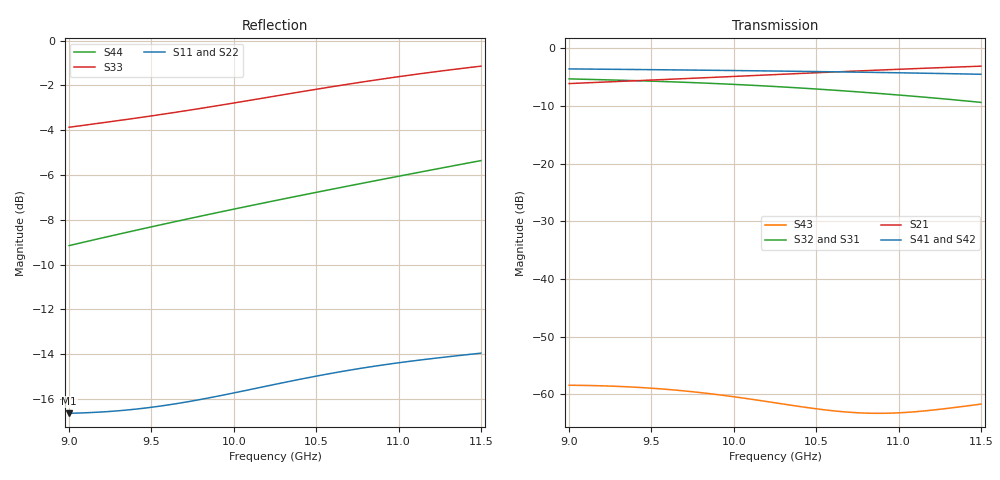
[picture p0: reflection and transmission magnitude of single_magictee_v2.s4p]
! Touchstone file exported from HFSS 2025.2.4
!  File:  C:/Users/chaoy/Documents/single_magictee_v2_stageA/g2_5p80mm_lt_4p50mm/single_magictee_v2.aedt
!  Generated:  03:03:53 PM Sep 19, 2026
!  Design:  SingleMagicT_v2
!  Project:  single_magictee_v2
! Variables:
!  f_adapt = 10.2GHz
!  ridge_g1 = 7.672mm
!  ridge_g2 = 5.8mm
!  ridge_l1 = 9.872mm
!  ridge_l2 = 8.857mm
!  ridge_w = 4.572mm
!  terminal_ridge_len = 4.5mm
!  wg_a = 22.86mm
!  wg_b = 10.16mm
!Data is not renormalized
# GHz S MA
! Terminal data exported
! Port[1] = P1_CollinearMinusX
! Port[2] = P2_CollinearPlusX
! Port[3] = P3_HArm_Ridged
! Port[4] = P4_EArm
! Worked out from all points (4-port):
!   101 points, 9 GHz to 11.5 GHz, reference per port
!   strongest paths, dB at 9 GHz, 9.625 GHz, 10.25 GHz, 10.88 GHz, 11.5 GHz:
!     S41: -3.6, -3.7, -3.9, -4.2, -4.5
!     S42: -3.6, -3.7, -3.9, -4.2, -4.5
!     S21: -6.1, -5.3, -4.6, -3.8, -3.1
!     S32: -5.3, -5.8, -6.6, -7.8, -9.4
!     S31: -5.3, -5.8, -6.6, -7.8, -9.4
!     S43: -58.4, -59.2, -61.4, -63.3, -61.7
!   lowest |S11| = -16.6 dB at 9 GHz (marker M1), VSWR 1.34
!   |S11| at or under -10 dB: start of sweep to end of sweep
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9  0.1471 -159.8  0.4946 -160.4  0.5427 123.7  0.6627 45.0
   0.4946 -160.4  0.145 -159.6  0.5432 123.7  0.6628 -134.9
   0.5427 123.7  0.5432 123.7  0.6406 -132.3  0.001201 158.2
   0.6627 45.0  0.6628 -134.9  0.001201 158.2  0.3485 -109.2
9.525  0.1522 152.4  0.5326 140.8  0.5173 60.3  0.6524 -14.6
       0.5326 140.8  0.1503 152.6  0.5178 60.3  0.6524 165.5
       0.5173 60.3  0.5178 60.3  0.6814 157.2  0.001126 86.1
       0.6524 -14.6  0.6524 165.5  0.001126 86.1  0.3857 -165.4
10.1  0.1662 99.9  0.5788 79.2  0.4783 -8.0  0.6392 -77.0
      0.5788 79.2  0.1652 100.0  0.4789 -7.9  0.639 103.0
      0.4783 -8.0  0.4789 -7.9  0.7361 80.4  0.0009116 13.9
      0.6392 -77.0  0.639 103.0  0.0009116 13.9  0.4279 134.6
10.475  0.1774 64.2  0.6115 39.7  0.4456 -51.8  0.6293 -116.7
        0.6115 39.7  0.177 64.3  0.4462 -51.8  0.629 63.3
        0.4456 -51.8  0.4462 -51.8  0.7761 31.3  0.0007594 -24.7
        0.6293 -116.7  0.629 63.3  0.0007594 -24.7  0.4564 96.2
10.8  0.1861 32.7  0.6403 5.8  0.4138 -89.2  0.6198 -150.6
      0.6403 5.8  0.1862 32.8  0.4144 -89.3  0.6194 29.4
      0.4138 -89.2  0.4144 -89.3  0.8106 -10.3  0.0006891 -51.1
      0.6198 -150.6  0.6194 29.4  0.0006891 -51.1  0.4819 63.1
11.2  0.1948 -6.2  0.675 -35.7  0.372 -135.0  0.6066 168.1
      0.675 -35.7  0.1952 -6.1  0.3725 -135.0  0.6062 -11.9
      0.372 -135.0  0.3725 -135.0  0.8502 -60.8  0.0007302 -81.5
      0.6066 168.1  0.6062 -11.9  0.0007302 -81.5  0.5144 22.6
11.5  0.2005 -35.1  0.7001 -66.6  0.3394 -169.3  0.5955 137.2
      0.7001 -66.6  0.2007 -34.9  0.3397 -169.4  0.5952 -42.7
      0.3394 -169.3  0.3397 -169.4  0.8772 -98.9  0.0008244 -108.0
      0.5955 137.2  0.5952 -42.7  0.0008244 -108.0  0.5396 -7.6
